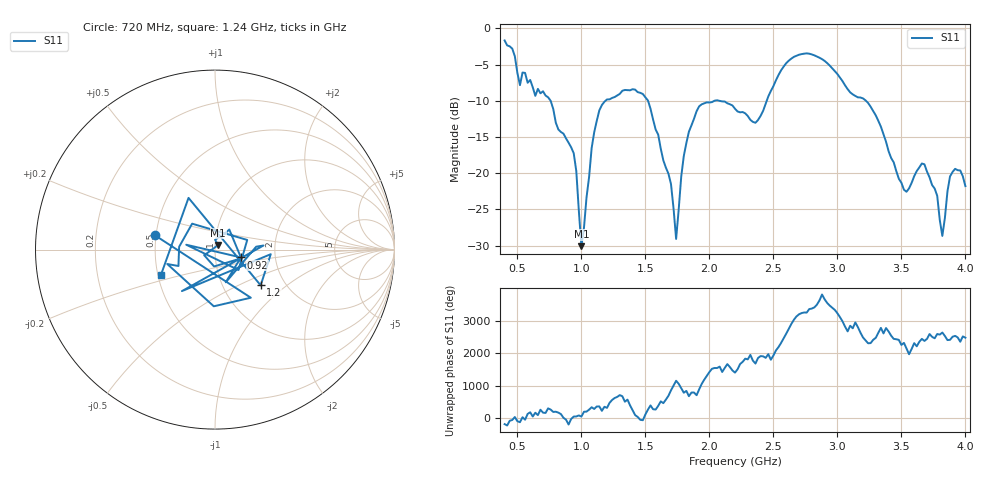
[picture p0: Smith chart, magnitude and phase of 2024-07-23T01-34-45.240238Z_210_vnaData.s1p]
!Created with skrf (http://scikit-rf.org).
# Hz S RI R 50.0
!freq ReS11 ImS11
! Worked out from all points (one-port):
!   181 points, 400 MHz to 4 GHz, reference 50 ohm
!   lowest |S11| = -30.1 dB at 1 GHz (marker M1), VSWR 1.06, Z = 51.7 + j2.67 ohm
!   |S11| at or under -10 dB: 759.7 MHz to 1.188 GHz (428.4 MHz wide, 44 % of centre); 1.521 GHz to 2.039 GHz (518 MHz wide, 29.1 % of centre); 3.223 GHz to end of sweep (the widest 3 of 4)
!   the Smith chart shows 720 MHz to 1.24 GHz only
!   S11 on the Smith chart (normalised r, x): 720 MHz: 0.49, +0.09; 920 MHz: 1.33, -0.12; 1.2 GHz: 1.50, -0.67; 1.24 GHz: 0.52, -0.16
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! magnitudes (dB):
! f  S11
! 400 MHz  -1.7
! 520 MHz  -7.8
! 720 MHz  -9.3
! 860 MHz  -14.5
! 920 MHz  -16.4
! 960 MHz  -19.7
! 1 GHz  -30.1
! 1.1 GHz  -14.4
! 1.2 GHz  -9.8
! 1.24 GHz  -9.6
! 1.3 GHz  -9.0
! 1.52 GHz  -10.0
! 1.7 GHz  -21.5
! 1.74 GHz  -29.1
! 1.76 GHz  -25.0
! 1.82 GHz  -15.8
! 1.92 GHz  -10.8
! 2.2 GHz  -11.1
! 2.36 GHz  -13.0
! 2.66 GHz  -3.9
! 3.1 GHz  -8.8
! 3.26 GHz  -10.8
! 3.56 GHz  -22.1
! 3.68 GHz  -18.8
! 3.78 GHz  -23.1
! 3.82 GHz  -28.7
! 3.88 GHz  -20.4
! 4 GHz  -21.8
